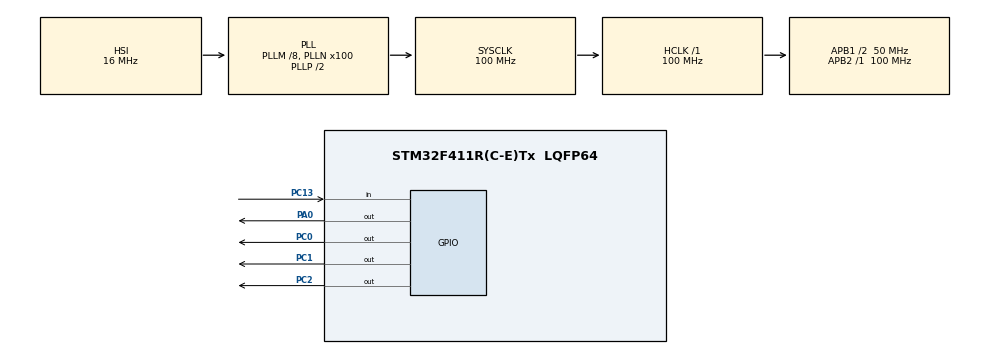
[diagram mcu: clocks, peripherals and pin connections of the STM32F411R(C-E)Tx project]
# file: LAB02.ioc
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Mcu.Family=STM32F4
Mcu.Name=STM32F411R(C-E)Tx
Mcu.Package=LQFP64
NVIC.PriorityGroup=NVIC_PRIORITYGROUP_4
PA0-WKUP.Signal=GPIO_Output
PC0.GPIO_Speed=GPIO_SPEED_FREQ_HIGH
PC0.Signal=GPIO_Output
PC1.GPIO_Speed=GPIO_SPEED_FREQ_HIGH
PC1.Signal=GPIO_Output
PC13-ANTI_TAMP.Signal=GPIO_Input
PC2.GPIO_Speed=GPIO_SPEED_FREQ_HIGH
PC2.Signal=GPIO_Output
ProjectManager.HeapSize=0x200
ProjectManager.StackSize=0x400
ProjectManager.TargetToolchain=MDK-ARM V5
RCC.48MHZClocksFreq_Value=50000000
RCC.AHBFreq_Value=100000000
RCC.APB1CLKDivider=RCC_HCLK_DIV2
RCC.APB1Freq_Value=50000000
RCC.APB1TimFreq_Value=100000000
RCC.APB2Freq_Value=100000000
RCC.APB2TimFreq_Value=100000000
RCC.CortexFreq_Value=100000000
RCC.HCLKFreq_Value=100000000
RCC.HSE_VALUE=25000000
RCC.HSI_VALUE=16000000
RCC.LSE_VALUE=32768
RCC.PLLM=8
RCC.PLLN=100
RCC.SYSCLKFreq_VALUE=100000000
RCC.SYSCLKSource=RCC_SYSCLKSOURCE_PLLCLK
RCC.VCOOutputFreq_Value=200000000
board=LAB02

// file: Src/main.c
/**
  ******************************************************************************
  * @file           : main.c
  * @brief          : Main program body
  ******************************************************************************
  ** This notice applies to any and all portions of this file
  * that are not between comment pairs USER CODE BEGIN and
  * USER CODE END. Other portions of this file, whether
  * inserted by the user or by software development tools
  * are owned by their respective copyright owners.
  *
  * COPYRIGHT(c) 2018 STMicroelectronics
  *
  * Redistribution and use in source and binary forms, with or without modification,
  * are permitted provided that the following conditions are met:
  *   1. Redistributions of source code must retain the above copyright notice,
  *      this list of conditions and the following disclaimer.
  *   2. Redistributions in binary form must reproduce the above copyright notice,
  *      this list of conditions and the following disclaimer in the documentation
  *      and/or other materials provided with the distribution.
  *   3. Neither the name of STMicroelectronics nor the names of its contributors
  *      may be used to endorse or promote products derived from this software
  *      without specific prior written permission.
  *
  * THIS SOFTWARE IS PROVIDED BY THE COPYRIGHT HOLDERS AND CONTRIBUTORS "AS IS"
  * AND ANY EXPRESS OR IMPLIED WARRANTIES, INCLUDING, BUT NOT LIMITED TO, THE
  * IMPLIED WARRANTIES OF MERCHANTABILITY AND FITNESS FOR A PARTICULAR PURPOSE ARE
  * DISCLAIMED. IN NO EVENT SHALL THE COPYRIGHT HOLDER OR CONTRIBUTORS BE LIABLE
  * FOR ANY DIRECT, INDIRECT, INCIDENTAL, SPECIAL, EXEMPLARY, OR CONSEQUENTIAL
  * DAMAGES (INCLUDING, BUT NOT LIMITED TO, PROCUREMENT OF SUBSTITUTE GOODS OR
  * SERVICES; LOSS OF USE, DATA, OR PROFITS; OR BUSINESS INTERRUPTION) HOWEVER
  * CAUSED AND ON ANY THEORY OF LIABILITY, WHETHER IN CONTRACT, STRICT LIABILITY,
  * OR TORT (INCLUDING NEGLIGENCE OR OTHERWISE) ARISING IN ANY WAY OUT OF THE USE
  * OF THIS SOFTWARE, EVEN IF ADVISED OF THE POSSIBILITY OF SUCH DAMAGE.
  *
  ******************************************************************************
  */
#include "main.h"
#include "stm32f4xx_hal.h"

/* USER CODE BEGIN PV */
/* Private variables ---------------------------------------------------------*/

/* USER CODE END PV */

void SystemClock_Config(void);
static void MX_GPIO_Init(void);

/* USER CODE BEGIN PFP */
/* Private function prototypes -----------------------------------------------*/

/* USER CODE END PFP */

int main(void)
{

  /* MCU Configuration----------------------------------------------------------*/

  /* Reset of all peripherals, Initializes the Flash interface and the Systick. */
  HAL_Init();

  /* Configure the system clock */
  SystemClock_Config();

  /* Initialize all configured peripherals */
  MX_GPIO_Init();
  /* USER CODE BEGIN 2 */
	uint32_t LED;
  /* USER CODE END 2 */

  /* Infinite loop */
  /* USER CODE BEGIN WHILE */
  while (1)
  {
		if (HAL_GPIO_ReadPin(GPIOC, GPIO_PIN_13) == GPIO_PIN_RESET)
		{
			LED = GPIOC->ODR;

			if ((LED & 7) == 0)
			{
				HAL_GPIO_WritePin(GPIOC, GPIO_PIN_0, GPIO_PIN_SET);
				HAL_Delay(200);
				continue;
			}

			if ((LED & 1) == 1)
			{
				HAL_GPIO_WritePin(GPIOC, GPIO_PIN_0, GPIO_PIN_RESET);
				HAL_GPIO_WritePin(GPIOC, GPIO_PIN_1, GPIO_PIN_SET);
				HAL_Delay(200);
				continue;
			}

			if ((LED & 2) == 2)
			{
				HAL_GPIO_WritePin(GPIOC, GPIO_PIN_1, GPIO_PIN_RESET);
				HAL_GPIO_WritePin(GPIOC, GPIO_PIN_2, GPIO_PIN_SET);
				HAL_Delay(200);
				continue;
			}

			if ((LED & 4) == 4)
			{
				HAL_GPIO_WritePin(GPIOC, GPIO_PIN_2, GPIO_PIN_RESET);
				HAL_Delay(200);
				continue;
			}
		}
  /* USER CODE END WHILE */

  /* USER CODE BEGIN 3 */
		if (HAL_GPIO_ReadPin(GPIOA, GPIO_PIN_0) == GPIO_PIN_SET)
		{
				HAL_GPIO_WritePin(GPIOC, GPIO_PIN_All, GPIO_PIN_RESET);
				HAL_Delay(500);

				HAL_GPIO_WritePin(GPIOC, GPIO_PIN_2, GPIO_PIN_SET);
				HAL_Delay(500);

				HAL_GPIO_WritePin(GPIOC, GPIO_PIN_2, GPIO_PIN_RESET);
				HAL_GPIO_WritePin(GPIOC, GPIO_PIN_1, GPIO_PIN_SET);
				HAL_Delay(500);

				HAL_GPIO_WritePin(GPIOC, GPIO_PIN_1, GPIO_PIN_RESET);
				HAL_GPIO_WritePin(GPIOC, GPIO_PIN_0, GPIO_PIN_SET);
				HAL_Delay(500);

				HAL_GPIO_WritePin(GPIOC, GPIO_PIN_0, GPIO_PIN_RESET);

//			if ((LED & 1) == 1)
//			{
//				HAL_GPIO_WritePin(GPIOC, GPIO_PIN_0, GPIO_PIN_RESET);
//				HAL_Delay(500);
//				continue;
//			}
//
//			if ((LED & 2) == 2)
//			{
//				HAL_GPIO_WritePin(GPIOC, GPIO_PIN_1, GPIO_PIN_RESET);
//				HAL_GPIO_WritePin(GPIOC, GPIO_PIN_0, GPIO_PIN_SET);
//				HAL_Delay(500);
//
//				HAL_GPIO_WritePin(GPIOC, GPIO_PIN_0, GPIO_PIN_RESET);
//				continue;
//			}
//
//			if ((LED & 4) == 4)
//			{
//				HAL_GPIO_WritePin(GPIOC, GPIO_PIN_2, GPIO_PIN_RESET);
//				HAL_GPIO_WritePin(GPIOC, GPIO_PIN_1, GPIO_PIN_SET);
//				HAL_Delay(500);
//
//				HAL_GPIO_WritePin(GPIOC, GPIO_PIN_1, GPIO_PIN_RESET);
//				HAL_GPIO_WritePin(GPIOC, GPIO_PIN_0, GPIO_PIN_SET);
//				HAL_Delay(500);
//
//				HAL_GPIO_WritePin(GPIOC, GPIO_PIN_0, GPIO_PIN_RESET);
//				continue;
//			}
//
//			if ((LED & 7) == 0)
//			{
//				HAL_GPIO_WritePin(GPIOC, GPIO_PIN_2, GPIO_PIN_SET);
//				HAL_Delay(500);
//
//				HAL_GPIO_WritePin(GPIOC, GPIO_PIN_2, GPIO_PIN_RESET);
//				HAL_GPIO_WritePin(GPIOC, GPIO_PIN_1, GPIO_PIN_SET);
//				HAL_Delay(500);
//
//				HAL_GPIO_WritePin(GPIOC, GPIO_PIN_1, GPIO_PIN_RESET);
//				HAL_GPIO_WritePin(GPIOC, GPIO_PIN_0, GPIO_PIN_SET);
//				HAL_Delay(500);
//
//				HAL_GPIO_WritePin(GPIOC, GPIO_PIN_0, GPIO_PIN_RESET);
//				continue;
//			}
		}

  }
  /* USER CODE END 3 */

}

void SystemClock_Config(void)
{

  RCC_OscInitTypeDef RCC_OscInitStruct;
  RCC_ClkInitTypeDef RCC_ClkInitStruct;

    /**Configure the main internal regulator output voltage
    */
  __HAL_RCC_PWR_CLK_ENABLE();

  __HAL_PWR_VOLTAGESCALING_CONFIG(PWR_REGULATOR_VOLTAGE_SCALE1);

    /**Initializes the CPU, AHB and APB busses clocks
    */
  RCC_OscInitStruct.OscillatorType = RCC_OSCILLATORTYPE_HSI;
  RCC_OscInitStruct.HSIState = RCC_HSI_ON;
  RCC_OscInitStruct.HSICalibrationValue = 16;
  RCC_OscInitStruct.PLL.PLLState = RCC_PLL_ON;
  RCC_OscInitStruct.PLL.PLLSource = RCC_PLLSOURCE_HSI;
  RCC_OscInitStruct.PLL.PLLM = 8;
  RCC_OscInitStruct.PLL.PLLN = 100;
  RCC_OscInitStruct.PLL.PLLP = RCC_PLLP_DIV2;
  RCC_OscInitStruct.PLL.PLLQ = 4;
  if (HAL_RCC_OscConfig(&RCC_OscInitStruct) != HAL_OK)
  {
    _Error_Handler(__FILE__, __LINE__);
  }

    /**Initializes the CPU, AHB and APB busses clocks
    */
  RCC_ClkInitStruct.ClockType = RCC_CLOCKTYPE_HCLK|RCC_CLOCKTYPE_SYSCLK
                              |RCC_CLOCKTYPE_PCLK1|RCC_CLOCKTYPE_PCLK2;
  RCC_ClkInitStruct.SYSCLKSource = RCC_SYSCLKSOURCE_PLLCLK;
  RCC_ClkInitStruct.AHBCLKDivider = RCC_SYSCLK_DIV1;
  RCC_ClkInitStruct.APB1CLKDivider = RCC_HCLK_DIV2;
  RCC_ClkInitStruct.APB2CLKDivider = RCC_HCLK_DIV1;

  if (HAL_RCC_ClockConfig(&RCC_ClkInitStruct, FLASH_LATENCY_3) != HAL_OK)
  {
    _Error_Handler(__FILE__, __LINE__);
  }

    /**Configure the Systick interrupt time
    */
  HAL_SYSTICK_Config(HAL_RCC_GetHCLKFreq()/1000);

    /**Configure the Systick
    */
  HAL_SYSTICK_CLKSourceConfig(SYSTICK_CLKSOURCE_HCLK);

  /* SysTick_IRQn interrupt configuration */
  HAL_NVIC_SetPriority(SysTick_IRQn, 0, 0);
}

/** Configure pins as
        * Analog
        * Input
        * Output
        * EVENT_OUT
        * EXTI
*/
static void MX_GPIO_Init(void)
{

  GPIO_InitTypeDef GPIO_InitStruct;

  /* GPIO Ports Clock Enable */
  __HAL_RCC_GPIOC_CLK_ENABLE();
  __HAL_RCC_GPIOA_CLK_ENABLE();

  /*Configure GPIO pin Output Level */
  HAL_GPIO_WritePin(GPIOC, GPIO_PIN_0|GPIO_PIN_1|GPIO_PIN_2, GPIO_PIN_RESET);

  /*Configure GPIO pin Output Level */
  HAL_GPIO_WritePin(GPIOA, GPIO_PIN_0, GPIO_PIN_RESET);

  /*Configure GPIO pin : PC13 */
  GPIO_InitStruct.Pin = GPIO_PIN_13;
  GPIO_InitStruct.Mode = GPIO_MODE_INPUT;
  GPIO_InitStruct.Pull = GPIO_NOPULL;
  HAL_GPIO_Init(GPIOC, &GPIO_InitStruct);

  /*Configure GPIO pins : PC0 PC1 PC2 */
  GPIO_InitStruct.Pin = GPIO_PIN_0|GPIO_PIN_1|GPIO_PIN_2;
  GPIO_InitStruct.Mode = GPIO_MODE_OUTPUT_PP;
  GPIO_InitStruct.Pull = GPIO_NOPULL;
  GPIO_InitStruct.Speed = GPIO_SPEED_FREQ_HIGH;
  HAL_GPIO_Init(GPIOC, &GPIO_InitStruct);

  /*Configure GPIO pin : PA0 */
  GPIO_InitStruct.Pin = GPIO_PIN_0;
  GPIO_InitStruct.Mode = GPIO_MODE_OUTPUT_PP;
  GPIO_InitStruct.Pull = GPIO_NOPULL;
  GPIO_InitStruct.Speed = GPIO_SPEED_FREQ_LOW;
  HAL_GPIO_Init(GPIOA, &GPIO_InitStruct);

}

void _Error_Handler(char *file, int line)
{
  while(1)
  {
  }
}

/************************ (C) COPYRIGHT STMicroelectronics *****END OF FILE****/
